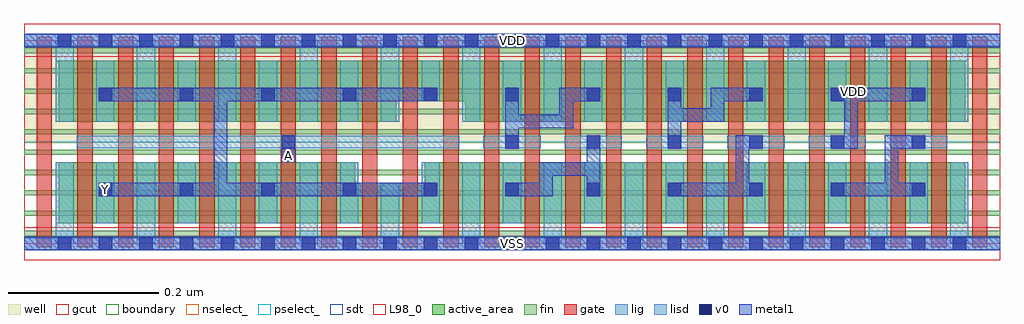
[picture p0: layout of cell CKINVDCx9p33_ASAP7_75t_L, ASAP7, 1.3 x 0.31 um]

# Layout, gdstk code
import gdstk
lib = gdstk.Library(unit=1e-6, precision=2.5e-10)
def R(c, l, rs):  # rectangles x0, y0, x1, y1
    for r in rs: c.add(gdstk.rectangle(r[:2], r[2:], *l))
def A(c, l, x, y, w, h, nx, ny, dx, dy):  # array of equal rectangles
    R(c, l, [(x+i*dx, y+j*dy, x+i*dx+w, y+j*dy+h) for i in range(nx) for j in range(ny)])
def P(c, l, *ps):  # polygons
    for p in ps: c.add(gdstk.Polygon(p, *l))
well = (1, 0)
fin = (2, 0)
gate = (7, 0)
gcut = (10, 0)
active_area = (11, 0)
nselect_ = (12, 0)
pselect_ = (13, 0)
lig = (16, 0)
lisd = (17, 0)
v0 = (18, 0)
metal1 = (19, 0)
sdt = (88, 0)
L98_0 = (98, 0)
boundary = (100, 0)

ckinvdcx9p33_asap7_75t_l = lib.new_cell('CKINVDCx9p33_ASAP7_75t_L')
R(ckinvdcx9p33_asap7_75t_l, well, [(0,0.135,1.296,0.27)])
A(ckinvdcx9p33_asap7_75t_l, fin, 0, 0.01, 1.296, 0.007, 1, 10, 0, 0.027)
A(ckinvdcx9p33_asap7_75t_l, gate, 0.017, -0.005, 0.02, 0.28, 24, 1, 0.054, 0)
R(ckinvdcx9p33_asap7_75t_l, gcut, [(0,-0.022,1.296,0.022), (0,0.248,1.296,0.292)])
P(ckinvdcx9p33_asap7_75t_l, active_area, [(0.532,0.081),(0.44,0.081),(0.44,0.108),(0.046,0.108),(0.046,0.027),(1.25,0.027),(1.25,0.108),(0.532,0.108)],
  [(0.586,0.162),(1.25,0.162),(1.25,0.243),(0.046,0.243),(0.046,0.162),(0.494,0.162),(0.494,0.189),(0.586,0.189)])
R(ckinvdcx9p33_asap7_75t_l, nselect_, [(0,0,1.296,0.135)])
R(ckinvdcx9p33_asap7_75t_l, pselect_, [(0,0.135,1.296,0.27)])
A(ckinvdcx9p33_asap7_75t_l, lig, 0.61, 0.127, 0.076, 0.016, 6, 1, 0.108, 0)
R(ckinvdcx9p33_asap7_75t_l, lig, [(0,-0.008,1.296,0.008), (0.07,0.127,0.578,0.143), (0,0.262,1.296,0.278)])
A(ckinvdcx9p33_asap7_75t_l, lisd, 0.042, 0, 0.024, 0.108, 4, 1, 0.108, 0)
A(ckinvdcx9p33_asap7_75t_l, lisd, 0.582, 0, 0.024, 0.108, 7, 1, 0.108, 0)
A(ckinvdcx9p33_asap7_75t_l, lisd, 0.096, 0.027, 0.024, 0.081, 11, 1, 0.108, 0)
A(ckinvdcx9p33_asap7_75t_l, lisd, 0.042, 0.162, 0.024, 0.108, 12, 1, 0.108, 0)
A(ckinvdcx9p33_asap7_75t_l, lisd, 0.096, 0.162, 0.024, 0.081, 4, 1, 0.108, 0)
A(ckinvdcx9p33_asap7_75t_l, lisd, 0.636, 0.162, 0.024, 0.081, 6, 1, 0.108, 0)
R(ckinvdcx9p33_asap7_75t_l, lisd, [(0.474,0,0.498,0.081), (0.528,0.189,0.552,0.243)])
A(ckinvdcx9p33_asap7_75t_l, v0, 0.045, -0.009, 0.018, 0.018, 23, 2, 0.054, 0.27)
A(ckinvdcx9p33_asap7_75t_l, v0, 0.099, 0.063, 0.018, 0.018, 11, 2, 0.108, 0.126)
A(ckinvdcx9p33_asap7_75t_l, v0, 0.639, 0.126, 0.018, 0.018, 6, 1, 0.108, 0)
R(ckinvdcx9p33_asap7_75t_l, v0, [(0.342,0.126,0.36,0.144)])
R(ckinvdcx9p33_asap7_75t_l, metal1, [(0,-0.009,1.296,0.009), (0.342,0.108,0.36,0.144), (0,0.261,1.296,0.279)])
P(ckinvdcx9p33_asap7_75t_l, metal1, [(1.197,0.081),(1.161,0.081),(1.161,0.126),(1.197,0.126),(1.197,0.144),(1.143,0.144),(1.143,0.081),(1.071,0.081),(1.071,0.063),(1.197,0.063)],
  [(0.981,0.081),(0.963,0.081),(0.963,0.126),(0.981,0.126),(0.981,0.144),(0.945,0.144),(0.945,0.081),(0.855,0.081),(0.855,0.063),(0.981,0.063)],
  [(0.702,0.09),(0.747,0.09),(0.747,0.063),(0.765,0.063),(0.765,0.144),(0.747,0.144),(0.747,0.108),(0.684,0.108),(0.684,0.081),(0.639,0.081),(0.639,0.063),(0.702,0.063)],
  [(1.197,0.207),(1.071,0.207),(1.071,0.189),(1.089,0.189),(1.089,0.144),(1.071,0.144),(1.071,0.126),(1.107,0.126),(1.107,0.189),(1.197,0.189)],
  [(0.873,0.162),(0.93,0.162),(0.93,0.189),(0.981,0.189),(0.981,0.207),(0.912,0.207),(0.912,0.18),(0.873,0.18),(0.873,0.207),(0.855,0.207),(0.855,0.126),(0.873,0.126)],
  [(0.657,0.153),(0.729,0.153),(0.729,0.189),(0.765,0.189),(0.765,0.207),(0.711,0.207),(0.711,0.171),(0.657,0.171),(0.657,0.207),(0.639,0.207),(0.639,0.126),(0.657,0.126)],
  [(0.549,0.081),(0.27,0.081),(0.27,0.189),(0.549,0.189),(0.549,0.207),(0.099,0.207),(0.099,0.189),(0.252,0.189),(0.252,0.081),(0.099,0.081),(0.099,0.063),(0.549,0.063)])
A(ckinvdcx9p33_asap7_75t_l, sdt, 0.042, 0.027, 0.024, 0.081, 8, 1, 0.054, 0)
A(ckinvdcx9p33_asap7_75t_l, sdt, 0.528, 0.027, 0.024, 0.081, 14, 1, 0.054, 0)
A(ckinvdcx9p33_asap7_75t_l, sdt, 0.042, 0.162, 0.024, 0.081, 9, 1, 0.054, 0)
A(ckinvdcx9p33_asap7_75t_l, sdt, 0.582, 0.162, 0.024, 0.081, 13, 1, 0.054, 0)
R(ckinvdcx9p33_asap7_75t_l, sdt, [(0.474,0.027,0.498,0.081), (0.528,0.189,0.552,0.243)])
R(ckinvdcx9p33_asap7_75t_l, L98_0, [(0,0,1.296,0.27)])
R(ckinvdcx9p33_asap7_75t_l, boundary, [(0,0,1.296,0.27)])
ckinvdcx9p33_asap7_75t_l.add(gdstk.Label('Y', (0.108,0.072), layer=19, texttype=251))
ckinvdcx9p33_asap7_75t_l.add(gdstk.Label('A', (0.351,0.117), layer=19, texttype=251))
ckinvdcx9p33_asap7_75t_l.add(gdstk.Label('VSS', (0.648,0), layer=19, texttype=251))
ckinvdcx9p33_asap7_75t_l.add(gdstk.Label('VDD', (0.648,0.27), layer=19, texttype=251))
ckinvdcx9p33_asap7_75t_l.add(gdstk.Label('VDD', (1.1015,0.2025), layer=1, texttype=251))
ckinvdcx9p33_asap7_75t_l.add(gdstk.Label('VSS', (1.4905,0.2025), layer=3, texttype=251))

lib.write_gds('CKINVDCx9p33_ASAP7_75t_L.gds')
